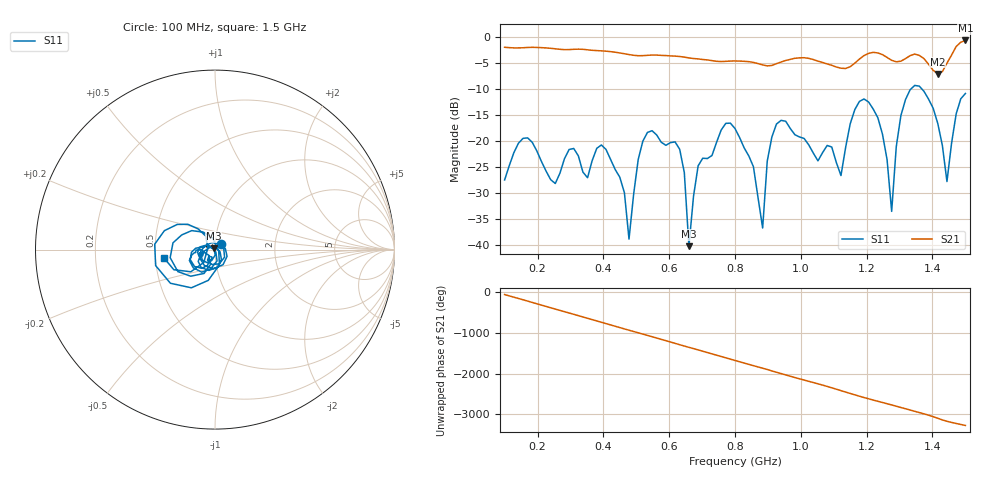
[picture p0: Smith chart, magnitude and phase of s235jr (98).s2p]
! NanoVNA-App
! Date: 2025-09-25 15:04:55
! Start: 100MHz Stop: 1,5GHz Points: 101
! S-Parameter data: F S11 S21 S12 S22
# Hz S RI R 50
!  Frequency  S11_Real  S11_Imag  S21_Real  S21_Imag  S12_Real  S12_Imag  S22_Real  S22_Imag
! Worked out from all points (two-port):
!   101 points, 100 MHz to 1.5 GHz, reference 50 ohm
!   highest |S21| = -0.65 dB at 1.5 GHz (marker M1); lowest = -7.1 dB at 1.416 GHz (marker M2)
!   |S21| within 3 dB of the highest: start of sweep to 614.3 MHz; 1.19 GHz to 1.255 GHz (65.02 MHz wide, 5.32 % of centre) (the widest 2 of 4)
!   lowest |S11| = -40.2 dB at 660 MHz (marker M3), VSWR 1.02, Z = 49.3 + j0.65 ohm
!   |S11| at or under -10 dB: start of sweep to 1.334 GHz; 1.368 GHz to end of sweep
!   S12 and S22 are empty: the file has one direction only
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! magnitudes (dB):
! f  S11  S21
! 100 MHz  -27.5  -2.0
! 170 MHz  -19.4  -2.0
! 338 MHz  -26.0  -2.4
! 408 MHz  -21.6  -2.7
! 478 MHz  -38.9  -3.4
! 520 MHz  -20.0  -3.6
! 576 MHz  -20.2  -3.5
! 632 MHz  -21.6  -3.7
! 660 MHz  -40.2  -4.0
! 688 MHz  -24.8  -4.2
! 800 MHz  -17.6  -4.6
! 884 MHz  -36.7  -5.4
! 926 MHz  -16.7  -5.1
! 1.038 GHz  -22.3  -4.3
! 1.122 GHz  -26.6  -6.0
! 1.206 GHz  -12.5  -3.1
! 1.276 GHz  -33.5  -4.5
! 1.304 GHz  -15.1  -4.6
! 1.332 GHz  -10.1  -3.6
! 1.416 GHz  -16.6  -7.1
! 1.444 GHz  -27.8  -5.0
! 1.5 GHz  -10.9  -0.7
